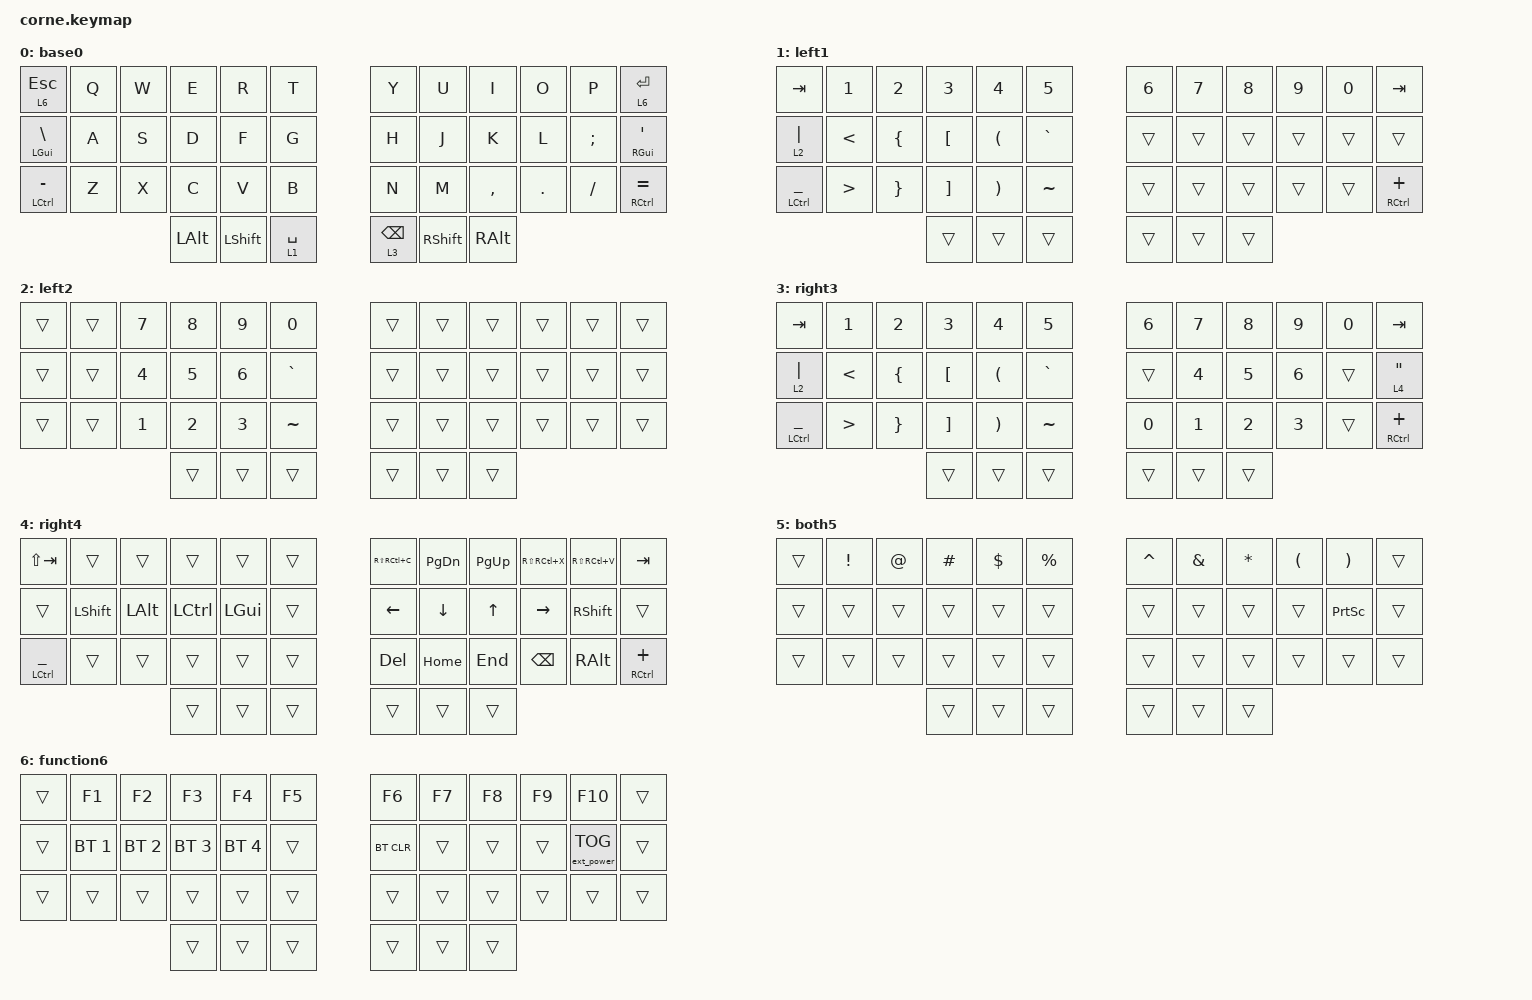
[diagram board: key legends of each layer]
/*
 * Custom Corne Keyboard ZMK firmware
 * Shawn Tolley
 */

#include <behaviors.dtsi>
#include <dt-bindings/zmk/bt.h>
#include <dt-bindings/zmk/ext_power.h>
#include <dt-bindings/zmk/keys.h>

// dt-formatter: indent = "  "
// dt-formatter: multilineIntegerCellsIndent = "reindent"
// dt-formatter: multilineListCommaStyle = "leading"

// &sk { /delete-property/ ignore-modifiers; };

/ {
//  behaviors {
//    hml: homewrow_mods_left {
//      compatible = "zmk,behavior-hold-tap";
//      #binding-cells = <2>;
//      bindings = <&kp>, <&kp>;
//
//      tapping-term-ms = <200>;
//      hold-trigger-key-positions = <6 7 8 9 10 11 18 19 20 21 22 23 30 31 32 33 34 35 39 40 41>;
//    };
//
//    hmr: homewrow_mods_right {
//      compatible = "zmk,behavior-hold-tap";
//      #binding-cells = <2>;
//      bindings = <&kp>, <&kp>;
//
//      tapping-term-ms = <200>;
//      hold-trigger-key-positions = <0 1 2 3 4 5 12 13 14 15 16 17 24 25 26 27 28 29 36 37 38>;
//    };
//
  conditional_layers {
    compatible = "zmk,conditional-layers";

    tri_layer {
      if-layers = <1 3>;
      then-layer = <5>;
    };

  };
//

  keymap {
    compatible = "zmk,keymap";

    base0 {
      bindings = <
        &lt 6 ESC        &kp Q         &kp W        &kp E         &kp R        &kp T          &kp Y       &kp U       &kp I      &kp O    &kp P     &lt 6 RET
        &mt LGUI BSLH    &kp A         &kp S        &kp D         &kp F        &kp G          &kp H       &kp J       &kp K      &kp L    &kp SEMI  &mt RGUI SQT
        &mt LCTRL MINUS  &kp Z         &kp X        &kp C         &kp V        &kp B          &kp N       &kp M       &kp COMMA  &kp DOT  &kp FSLH  &mt RCTRL EQUAL
                                                    &kp LALT      &kp LSHFT    &lt 1 SPACE    &lt 3 BSPC  &kp RSHFT   &kp RALT
      >;
    };

    left1 {
      bindings = <
        &kp TAB     &kp N1  &kp N2    &kp N3    &kp N4    &kp N5                   &kp N6    &kp N7  &kp N8  &kp N9  &kp N0  &kp TAB
        &lt 2 PIPE  &kp LT  &kp LBRC  &kp LBKT  &kp LPAR  &kp GRAVE                &trans    &trans  &trans  &trans  &trans  &trans
        &mt LCTRL UNDERSCORE  &kp GT  &kp RBRC  &kp RBKT  &kp RPAR  &kp TILDE      &trans    &trans  &trans  &trans  &trans  &mt RCTRL PLUS
                                                &trans    &trans    &trans         &trans    &trans  &trans
      >;

    };

    left2 {
      bindings = <
        &trans  &trans  &kp N7  &kp N8   &kp N9  &kp N0        &trans  &trans  &trans  &trans  &trans  &trans
        &trans  &trans  &kp N4  &kp N5   &kp N6  &kp GRAVE     &trans  &trans  &trans  &trans  &trans  &trans
        &trans  &trans  &kp N1  &kp N2   &kp N3  &kp TILDE     &trans  &trans  &trans  &trans  &trans  &trans
                                &trans   &trans  &trans        &trans  &trans  &trans
      >;
    };

    right3 {
      bindings = <
        &kp TAB     &kp N1  &kp N2    &kp N3    &kp N4    &kp N5                   &kp N6    &kp N7  &kp N8  &kp N9  &kp N0  &kp TAB
	&lt 2 PIPE  &kp LT  &kp LBRC  &kp LBKT  &kp LPAR  &kp GRAVE                &trans    &kp N4  &kp N5  &kp N6  &trans  &lt 4 DQT
	&mt LCTRL UNDERSCORE  &kp GT  &kp RBRC  &kp RBKT  &kp RPAR  &kp TILDE      &kp N0    &kp N1  &kp N2  &kp N3  &trans  &mt RCTRL PLUS
                                                &trans    &trans    &trans         &trans    &trans  &trans
      >;

    };

    right4 {
      bindings = <
        &kp LS(TAB)  &trans  &trans  &trans  &trans  &trans    &kp RS(RC(C))  &kp PAGE_DOWN  &kp PAGE_UP  &kp RS(RC(X))  &kp RS(RC(V))  &kp TAB
        &trans  &kp LSHFT  &kp LALT  &kp LCTRL  &kp LGUI  &trans    &kp LEFT       &kp DOWN       &kp UP       &kp RIGHT      &kp RSHIFT     &trans
        &mt LCTRL UNDERSCORE  &trans  &trans  &trans  &trans  &trans    &kp DELETE     &kp HOME       &kp END      &kp BACKSPACE  &kp RALT       &mt RCTRL PLUS
                                &trans  &trans  &trans    &trans         &trans         &trans
	>;
    };


    both5 {
      bindings = <
        &trans  &kp EXCL &kp AT  &kp POUND  &kp DLLR  &kp PRCNT    &kp CARET  &kp AMPS  &kp ASTRK  &kp LPAR  &kp RPAR  &trans
        &trans  &trans   &trans  &trans  &trans  &trans    &trans  &trans  &trans  &trans  &kp PSCRN  &trans
        &trans  &trans   &trans  &trans  &trans  &trans    &trans  &trans  &trans  &trans  &trans  &trans
                                &trans  &trans  &trans    &trans  &trans  &trans
      >;
    };

    function6 {
      bindings = <
        &trans  &kp F1       &kp F2       &kp F3       &kp F4       &kp F5        &kp F6      &kp F7   &kp F8  &kp F9  &kp F10  &trans
        &trans  &bt BT_SEL 1 &bt BT_SEL 2 &bt BT_SEL 3 &bt BT_SEL 4 &trans        &bt BT_CLR  &trans   &trans  &trans  &ext_power EP_TOG &trans
        &trans  &trans       &trans       &trans       &trans       &trans        &trans      &trans   &trans  &trans  &trans  &trans
                                          &trans       &trans       &trans        &trans      &trans   &trans
      >;
    };

  };
};

